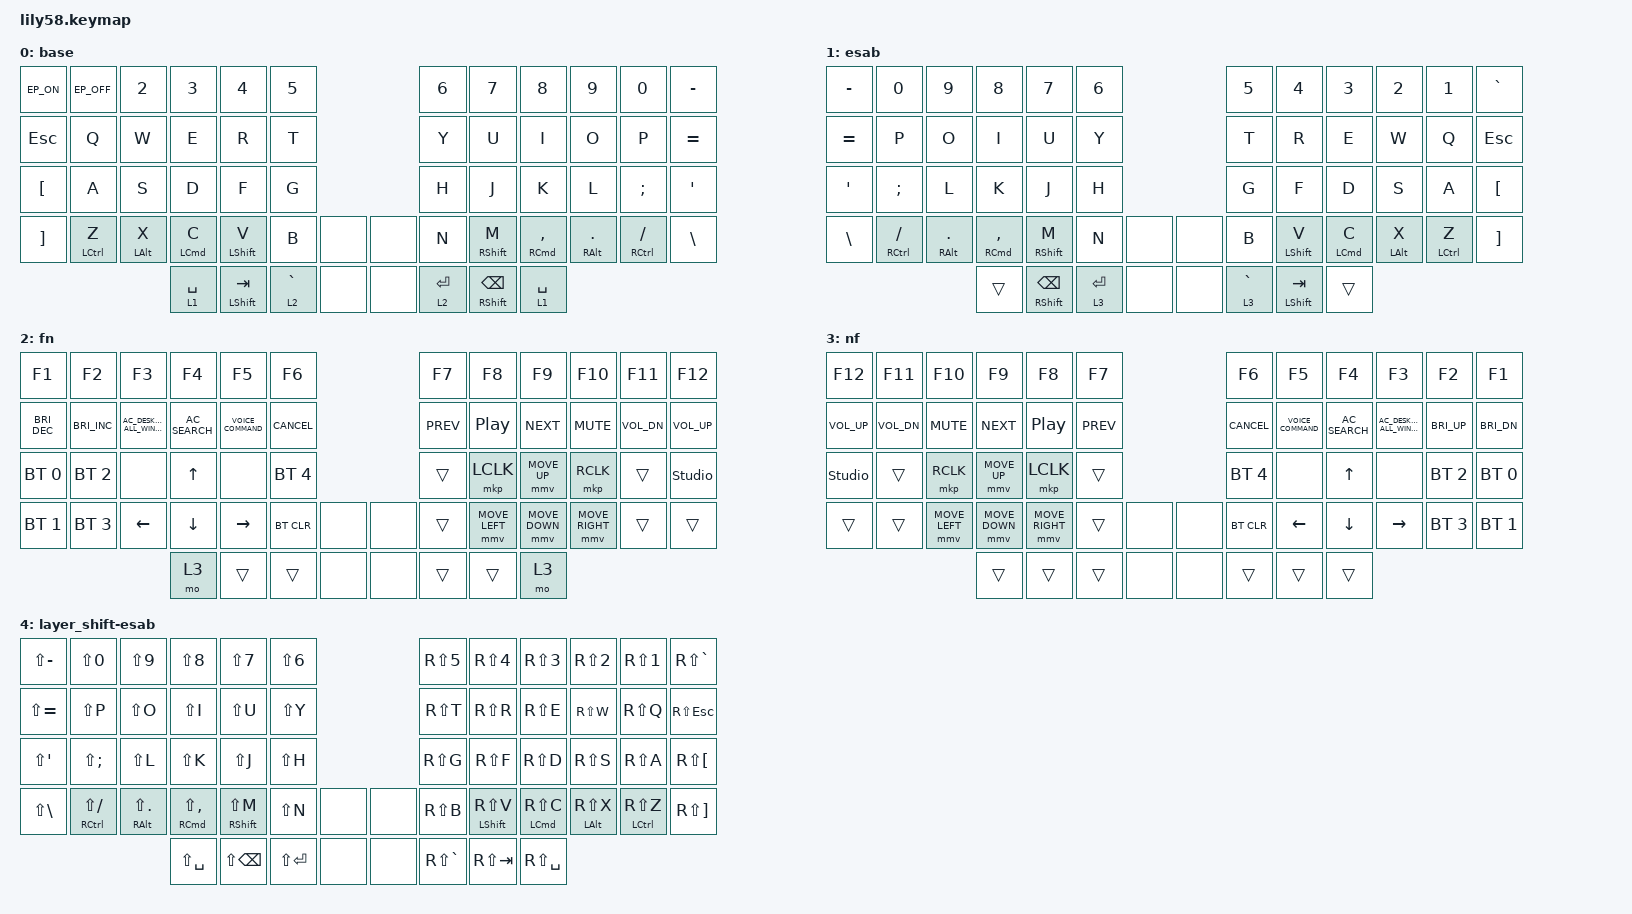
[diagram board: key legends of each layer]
#include <behaviors.dtsi>
#include <dt-bindings/zmk/bt.h>
#include <dt-bindings/zmk/keys.h>
#include <dt-bindings/zmk/pointing.h>
#include <dt-bindings/zmk/ext_power.h>

/ {
    behaviors {
        #include "macros.dtsi"

        hm: homerow_mods {
            compatible = "zmk,behavior-hold-tap";
            label = "HOMEROW_MODS";
            #binding-cells = <2>;
            tapping-term-ms = <200>;
            quick_tap_ms = <175>;
            flavor = "tap-preferred";
            bindings = <&kp>, <&kp>;
        };

        hml: home_mod_left {
            compatible = "zmk,behavior-hold-tap";
            label = "HOME_MOD_LEFT";
            #binding-cells = <2>;
            flavor = "balanced";
            tapping-term-ms = <200>;
            quick-tap-ms = <175>;
            require-prior-idle-ms = <150>;
            bindings = <&kp>, <&kp>;

            // Triggers on Left Side Keys

            hold-trigger-key-positions = <
                // 0 1 2 3 4 5  // 1st row left
                6 7 8 9 10 11  // 1st row right
                // 12 13 14 15 16 17  // 2nd row left
                18 19 20 21 22 23  // 2nd row right
                // 24 25 26 27 28 29  // 3rd row left
                30 31 32 33 34 35  // 3rd row right
                // 36 37 38 39 40 41 42  // 4th row left
                37 38 39 40  // 4th row left mod
                43 44 45 46 47 48 49  // 4th row right
                50 51 52 53  // thumb cluster left
                54 55 56 57  // thumb cluster right
            >;
        };

        hmr: home_mod_right {
            compatible = "zmk,behavior-hold-tap";
            label = "HOME_MOD_RIGHT";
            #binding-cells = <2>;
            flavor = "balanced";
            tapping-term-ms = <200>;
            quick-tap-ms = <175>;
            require-prior-idle-ms = <150>;
            bindings = <&kp>, <&kp>;

            // Triggers on Right Side Keys

            hold-trigger-key-positions = <
                0 1 2 3 4 5  // 1st row left
                // 6 7 8 9 10 11  // 1st row right
                12 13 14 15 16 17  // 2nd row left
                // 18 19 20 21 22 23  // 2nd row right
                24 25 26 27 28 29  // 3rd row left
                // 30 31 32 33 34 35  // 3rd row right
                36 37 38 39 40 41 42  // 4th row left
                // 43 44 45 46 47 48 49  // 4th row right
                45 46 47 48  // 4th row right mod
                50 51 52 53  // thumb cluster left
                54 55 56 57  // thumb cluster right
            >;
        };

        mmr: mirror_mod_right {
            compatible = "zmk,behavior-hold-tap";
            label = "MIRROR_MOD_RIGHT";
            #binding-cells = <2>;
            flavor = "tap-preferred";
            tapping-term-ms = <200>;
            quick-tap-ms = <175>;
            bindings = <&kp>, <&kp>;

            // Triggers on Right Side Keys

            hold-trigger-key-positions = <
                // 0 1 2 3 4 5  // 1st row left
                6 7 8 9 10 11  // 1st row right
                // 12 13 14 15 16 17  // 2nd row left
                18 19 20 21 22 23  // 2nd row right
                // 24 25 26 27 28 29  // 3rd row left
                30 31 32 33 34 35  // 3rd row right
                // 36 37 38 39 40 41 42  // 4th row left
                43 44 45 46 47 48 49  // 4th row right
                // 50 51 52 53  // thumb cluster left
                54 55 56 57  // thumb cluster right
            >;
        };

        mml: mirror_mod_left {
            compatible = "zmk,behavior-hold-tap";
            label = "MIRROR_MOD_LEFT";
            #binding-cells = <2>;
            flavor = "tap-preferred";
            tapping-term-ms = <200>;
            quick-tap-ms = <175>;
            bindings = <&kp>, <&kp>;

            // Triggers on Left Side Keys

            hold-trigger-key-positions = <
                0 1 2 3 4 5  // 1st row left
                // 6 7 8 9 10 11  // 1st row right
                12 13 14 15 16 17  // 2nd row left
                // 18 19 20 21 22 23  // 2nd row right
                24 25 26 27 28 29  // 3rd row left
                // 30 31 32 33 34 35  // 3rd row right
                36 37 38 39 40 41 42  // 4th row left
                // 43 44 45 46 47 48 49  // 4th row right
                50 51 52 53  // thumb cluster left
                // 54 55 56 57  // thumb cluster right
            >;
        };

        mlr: mirror_layer_right {
            compatible = "zmk,behavior-hold-tap";
            label = "MIRROR_LAYER_RIGHT";
            #binding-cells = <2>;
            flavor = "tap-preferred";
            tapping-term-ms = <200>;
            quick-tap-ms = <175>;
            bindings = <&mo>, <&kp>;

            // Triggers on Right Side Keys

            hold-trigger-key-positions = <
                // 0 1 2 3 4 5  // 1st row left
                6 7 8 9 10 11  // 1st row right
                // 12 13 14 15 16 17  // 2nd row left
                18 19 20 21 22 23  // 2nd row right
                // 24 25 26 27 28 29  // 3rd row left
                30 31 32 33 34 35  // 3rd row right
                // 36 37 38 39 40 41 42  // 4th row left
                43 44 45 46 47 48 49  // 4th row right
                // 50 51 52 53  // thumb cluster left
                54 55 56 57  // thumb cluster right
            >;
        };

        mll: mirror_layer_left {
            compatible = "zmk,behavior-hold-tap";
            label = "MIRROR_LAYER_LEFT";
            #binding-cells = <2>;
            flavor = "tap-preferred";
            tapping-term-ms = <200>;
            quick-tap-ms = <175>;
            bindings = <&mo>, <&kp>;

            // Triggers on Left Side Keys

            hold-trigger-key-positions = <
                0 1 2 3 4 5  // 1st row left
                // 6 7 8 9 10 11  // 1st row right
                12 13 14 15 16 17  // 2nd row left
                // 18 19 20 21 22 23  // 2nd row right
                24 25 26 27 28 29  // 3rd row left
                // 30 31 32 33 34 35  // 3rd row right
                36 37 38 39 40 41 42  // 4th row left
                // 43 44 45 46 47 48 49  // 4th row right
                50 51 52 53  // thumb cluster left
                // 54 55 56 57  // thumb cluster right
            >;
        };
    };

    keymap {
        compatible = "zmk,keymap";

        default_layer {
            display-name = "base";
            bindings = <
&kp EP_ON          &kp EP_OFF        &kp N2       &kp N3        &kp N4               &kp N5                        &kp N6        &kp N7                      &kp N8           &kp N9         &kp N0           &kp MINUS
&kp ESCAPE         &kp Q         &kp W        &kp E         &kp R                &kp T                         &kp Y         &kp U                       &kp I            &kp O          &kp P            &kp EQUAL
&kp LEFT_BRACKET   &kp A         &kp S        &kp D         &kp F                &kp G                         &kp H         &kp J                       &kp K            &kp L          &kp SEMI         &kp SQT
&kp RIGHT_BRACKET  &hml LCTRL Z  &hml LALT X  &hml LCMD C   &hml LSHFT V         &kp B         &none    &none  &kp N         &hmr RSHFT M                &hmr RCMD COMMA  &hmr RALT DOT  &hmr RCTRL FSLH  &kp BACKSLASH
                                              &mll 1 SPACE  &mml LEFT_SHIFT TAB  &mll 2 GRAVE  &none    &none  &mlr 2 ENTER  &mmr RIGHT_SHIFT BACKSPACE  &mlr 1 SPACE
            >;
        };

        layer_esab {
            display-name = "esab";
            bindings = <
&kp MINUS         &kp N0            &kp N9         &kp N8           &kp N7                      &kp N6                        &kp N5        &kp N4               &kp N3       &kp N2       &kp N1        &kp GRAVE
&kp EQUAL         &kp P             &kp O          &kp I            &kp U                       &kp Y                         &kp T         &kp R                &kp E        &kp W        &kp Q         &kp ESCAPE
&kp SINGLE_QUOTE  &kp SEMICOLON     &kp L          &kp K            &kp J                       &kp H                         &kp G         &kp F                &kp D        &kp S        &kp A         &kp LEFT_BRACKET
&kp BACKSLASH     &hml RCTRL SLASH  &hml RALT DOT  &hml RCMD COMMA  &hml RSHFT M                &kp N         &none    &none  &kp B         &hmr LSHFT V         &hmr LCMD C  &hmr LALT X  &hmr LCTRL Z  &kp RIGHT_BRACKET
                                                   &trans           &mml RIGHT_SHIFT BACKSPACE  &mll 3 ENTER  &none    &none  &mlr 3 GRAVE  &mmr LEFT_SHIFT TAB  &trans
            >;
        };

        layer_fn {
            display-name = "fn";
            bindings = <
&kp F1                &kp F2                &kp F3                             &kp F4           &kp F5               &kp F6                        &kp F7      &kp F8            &kp F9          &kp F10          &kp F11       &kp F12
&kp C_BRIGHTNESS_DEC  &kp C_BRIGHTNESS_INC  &kp C_AC_DESKTOP_SHOW_ALL_WINDOWS  &kp C_AC_SEARCH  &kp C_VOICE_COMMAND  &kp K_CANCEL                  &kp C_PREV  &kp C_PLAY_PAUSE  &kp C_NEXT      &kp C_MUTE       &kp C_VOL_DN  &kp C_VOL_UP
&bt BT_SEL 0          &bt BT_SEL 2          &none                              &kp UP           &none                &bt BT_SEL 4                  &trans      &mkp LCLK         &mmv MOVE_UP    &mkp RCLK        &trans        &studio_unlock
&bt BT_SEL 1          &bt BT_SEL 3          &kp LEFT                           &kp DOWN         &kp RIGHT            &bt BT_CLR    &none    &none  &trans      &mmv MOVE_LEFT    &mmv MOVE_DOWN  &mmv MOVE_RIGHT  &trans        &trans
                                                                               &mo 3            &trans               &trans        &none    &none  &trans      &trans            &mo 3
            >;
        };

        layer_nf {
            display-name = "nf";
            bindings = <
&kp F12         &kp F11       &kp F10         &kp F9          &kp F8           &kp F7                      &kp F6        &kp F5               &kp F4           &kp F3                             &kp F2        &kp F1
&kp C_VOL_UP    &kp C_VOL_DN  &kp C_MUTE      &kp C_NEXT      &kp C_PP         &kp C_PREV                  &kp K_CANCEL  &kp C_VOICE_COMMAND  &kp C_AC_SEARCH  &kp C_AC_DESKTOP_SHOW_ALL_WINDOWS  &kp C_BRI_UP  &kp C_BRI_DN
&studio_unlock  &trans        &mkp RCLK       &mmv MOVE_UP    &mkp LCLK        &trans                      &bt BT_SEL 4  &none                &kp UP           &none                              &bt BT_SEL 2  &bt BT_SEL 0
&trans          &trans        &mmv MOVE_LEFT  &mmv MOVE_DOWN  &mmv MOVE_RIGHT  &trans      &none    &none  &bt BT_CLR    &kp LEFT             &kp DOWN         &kp RIGHT                          &bt BT_SEL 3  &bt BT_SEL 1
                                              &trans          &trans           &trans      &none    &none  &trans        &trans               &trans
            >;
        };

        layer_shift-esab {
            bindings = <
&kp LS(MINUS)  &kp LS(N0)           &kp LS(N9)         &kp LS(N8)           &kp LS(N7)         &kp LS(N6)                     &kp RS(N5)     &kp RS(N4)        &kp RS(N3)       &kp RS(N2)       &kp RS(N1)        &kp RS(GRAVE)
&kp LS(EQUAL)  &kp LS(P)            &kp LS(O)          &kp LS(I)            &kp LS(U)          &kp LS(Y)                      &kp RS(T)      &kp RS(R)         &kp RS(E)        &kp RS(W)        &kp RS(Q)         &kp RS(ESC)
&kp LS(SQT)    &kp LS(SEMI)         &kp LS(L)          &kp LS(K)            &kp LS(J)          &kp LS(H)                      &kp RS(G)      &kp RS(F)         &kp RS(D)        &kp RS(S)        &kp RS(A)         &kp RS(LBKT)
&kp LS(BSLH)   &hml RCTRL LS(FSLH)  &hml RALT LS(DOT)  &hml RCMD LS(COMMA)  &hml RSHFT LS(M)   &kp LS(N)      &none    &none  &kp RS(B)      &hmr LSHFT RS(V)  &hmr LCMD RS(C)  &hmr LALT RS(X)  &hmr LCTRL RS(Z)  &kp RS(RBKT)
                                                       &kp LS(SPACE)        &kp LS(BACKSPACE)  &kp LS(ENTER)  &none    &none  &kp RS(GRAVE)  &kp RS(TAB)       &kp RS(SPACE)
            >;
        };
    };
};
